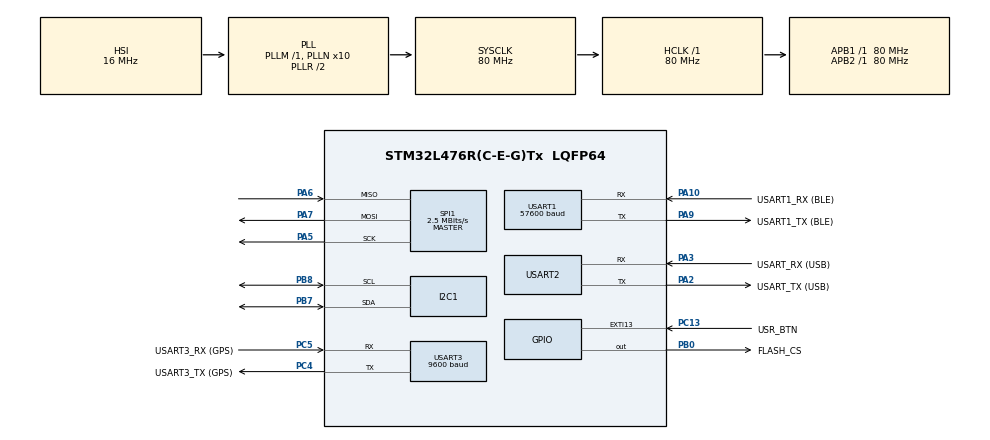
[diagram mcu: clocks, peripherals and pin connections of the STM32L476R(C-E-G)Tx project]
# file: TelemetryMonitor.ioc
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I2C1.Timing=0x10909CEC
Mcu.Family=STM32L4
Mcu.Name=STM32L476R(C-E-G)Tx
Mcu.Package=LQFP64
NVIC.EXTI15_10_IRQn=true\:0\:0\:false\:false\:true\:true\:true\:true
NVIC.I2C1_EV_IRQn=true\:0\:0\:false\:false\:true\:true\:true\:true
NVIC.PriorityGroup=NVIC_PRIORITYGROUP_4
NVIC.USART1_IRQn=true\:0\:0\:false\:false\:true\:true\:true\:true
NVIC.USART2_IRQn=true\:0\:0\:false\:false\:true\:true\:true\:true
NVIC.USART3_IRQn=true\:0\:0\:false\:false\:true\:true\:true\:true
PA10.GPIO_Label=USART1_RX (BLE)
PA10.Mode=Asynchronous
PA10.Signal=USART1_RX
PA13\ (JTMS-SWDIO).GPIO_Label=TMS
PA13\ (JTMS-SWDIO).Mode=Serial_Wire
PA13\ (JTMS-SWDIO).Signal=SYS_JTMS-SWDIO
PA14\ (JTCK-SWCLK).GPIO_Label=TCK
PA14\ (JTCK-SWCLK).Mode=Serial_Wire
PA14\ (JTCK-SWCLK).Signal=SYS_JTCK-SWCLK
PA2.GPIO_Label=USART_TX (USB)
PA2.GPIO_Mode=GPIO_MODE_AF_PP
PA2.GPIO_PuPd=GPIO_NOPULL
PA2.GPIO_Speed=GPIO_SPEED_FREQ_VERY_HIGH
PA2.Mode=Asynchronous
PA2.Signal=USART2_TX
PA3.GPIO_Label=USART_RX (USB)
PA3.GPIO_Mode=GPIO_MODE_AF_PP
PA3.GPIO_PuPd=GPIO_NOPULL
PA3.GPIO_Speed=GPIO_SPEED_FREQ_VERY_HIGH
PA3.Mode=Asynchronous
PA3.Signal=USART2_RX
PA5.Mode=Full_Duplex_Master
PA5.Signal=SPI1_SCK
PA6.Mode=Full_Duplex_Master
PA6.Signal=SPI1_MISO
PA7.Mode=Full_Duplex_Master
PA7.Signal=SPI1_MOSI
PA9.GPIO_Label=USART1_TX (BLE)
PA9.Mode=Asynchronous
PA9.Signal=USART1_TX
PB0.GPIO_Label=FLASH_CS
PB0.GPIO_Speed=GPIO_SPEED_FREQ_LOW
PB0.Signal=GPIO_Output
PB3\ (JTDO-TRACESWO).GPIO_Label=SWO
PB3\ (JTDO-TRACESWO).Signal=SYS_JTDO-SWO
PB7.Mode=I2C
PB7.Signal=I2C1_SDA
PB8.Mode=I2C
PB8.Signal=I2C1_SCL
PC13.GPIO_Label=USR_BTN
PC13.GPIO_ModeDefaultEXTI=GPIO_MODE_IT_FALLING
PC13.GPIO_PuPd=GPIO_PULLUP
PC13.Signal=GPXTI13
PC14-OSC32_IN\ (PC14).Mode=LSE-External-Oscillator
PC14-OSC32_IN\ (PC14).Signal=RCC_OSC32_IN
PC15-OSC32_OUT\ (PC15).Mode=LSE-External-Oscillator
PC15-OSC32_OUT\ (PC15).Signal=RCC_OSC32_OUT
PC4.GPIO_Label=USART3_TX (GPS)
PC4.Mode=Asynchronous
PC4.Signal=USART3_TX
PC5.GPIO_Label=USART3_RX (GPS)
PC5.Mode=Asynchronous
PC5.Signal=USART3_RX
PH0-OSC_IN\ (PH0).Signal=RCC_OSC_IN
PH1-OSC_OUT\ (PH1).Signal=RCC_OSC_OUT
ProjectManager.HeapSize=0x200
ProjectManager.StackSize=0x400
ProjectManager.TargetToolchain=STM32CubeIDE
RCC.ADCFreq_Value=64000000
RCC.AHBFreq_Value=80000000
RCC.APB1Freq_Value=80000000
RCC.APB1TimFreq_Value=80000000
RCC.APB2Freq_Value=80000000
RCC.APB2TimFreq_Value=80000000
RCC.CortexFreq_Value=80000000
RCC.HCLKFreq_Value=80000000
RCC.HSE_VALUE=8000000
RCC.HSI_VALUE=16000000
RCC.MSI_VALUE=4000000
RCC.PLLN=10
RCC.PLLSourceVirtual=RCC_PLLSOURCE_HSI
RCC.PREFETCH_ENABLE=1
RCC.SYSCLKFreq_VALUE=80000000
RCC.SYSCLKSource=RCC_SYSCLKSOURCE_PLLCLK
RCC.USBFreq_Value=64000000
RCC.VCOOutputFreq_Value=160000000
SPI1.BaudRatePrescaler=SPI_BAUDRATEPRESCALER_32
SPI1.CalculateBaudRate=2.5 MBits/s
SPI1.DataSize=SPI_DATASIZE_8BIT
SPI1.Direction=SPI_DIRECTION_2LINES
SPI1.Mode=SPI_MODE_MASTER
SPI1.NSSPMode=SPI_NSS_PULSE_DISABLE
SPI1.VirtualType=VM_MASTER
USART1.BaudRate=57600
USART1.VirtualMode-Asynchronous=VM_ASYNC
USART2.VirtualMode-Asynchronous=VM_ASYNC
USART3.BaudRate=9600
USART3.VirtualMode-Asynchronous=VM_ASYNC
board=NUCLEO-L476RG

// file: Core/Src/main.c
/* USER CODE BEGIN Header */
/**
  ******************************************************************************
  * @file           : main.c
  * @brief          : Main program body
  ******************************************************************************
  * @attention
  *
  * Copyright (c) 2023 STMicroelectronics.
  * All rights reserved.
  *
  * This software is licensed under terms that can be found in the LICENSE file
  * in the root directory of this software component.
  * If no LICENSE file comes with this software, it is provided AS-IS.
  *
  ******************************************************************************
  */
/* USER CODE END Header */
#include "main.h"

/* USER CODE BEGIN Includes */
#include <stdio.h>
#include <stdlib.h>
#include <string.h>
#include "bno055_stm32.h"
/* USER CODE END Includes */

/* USER CODE BEGIN PM */

/************ASCII CHARACTERS**********/
#define DEL				0x08
#define EOT				0x04
#define NL				0x0D
#define CR				0x0A
#define SPACE			0x20

/************FILE MANAGEMENT***********/

//Chip Info
//22:46:51  $GPRMC,224651.00,A,4259.03282,N,08541.36921,W,0.033,,110223,,,A*61
//22:46:51  $GPVTG,,T,,M,0.033,N,0.062,K,A*27
//22:46:51  $GPGGA,224651.00,4259.03282,N,08541.36921,W,1,05,1.84,209.9,M,-34.5,M,,*6B
//22:46:51  $GPGSA,A,3,19,03,06,17,14,,,,,,,,3.65,1.84,3.15*06
//22:46:51  $GPGSV,2,1,08,01,27,045,16,03,26,089,14,06,39,204,20,11,02,212,*78
//22:46:51  $GPGSV,2,2,08,14,59,126,29,17,73,010,16,19,57,281,29,24,21,310,14*7A
//22:46:51  $GPGLL,4259.03282,N,08541.36921,W,224651.00,A,A*7B

//
#define DIR_FIL_ADDR	0x000000	//Initial addr of the Directory File
#define BLOCK_1_ADDR	0x001000	//The address of the first block in memory (excluding The Directory File)
#define	BLOCK_OFFSET	0x001000	//Add this value to the initial 4KB block addr to get the next block's initial address
#define END_ADDR_OFF	0x000FFF	//Add this value to the initial 4KB block addr value to get the end address
#define PAGE_END_OFF	0x0000FF
#define PAGE_OFFSET		0x000100
#define LAST_PAGE_OFF	0x000F00
#define TOC_ADDR		0x000000
#define TOC_OFFSET		0x000020

//Directory File Macros
#define BLOCKS_4KB		127
#define BLOCKS_32KB		16
#define BLOCKS_64KB		8
#define PAGE_COUNT		16

/**********SPI FLASH COMMANDS**********/
const uint8_t WR_EN = 0x06;			//Write Enable
const uint8_t WR_EN_VSR = 0x50;		//Write Enable for Volatile Status Register
const uint8_t WR_DIS = 0x04;		//Write Disable
const uint8_t RD_SR = 0x05;			//Read Status Register
const uint8_t WR_SR = 0x01;			//Write Status Register
const uint8_t RD_DATA = 0x03;		//Read Data
const uint8_t RD_FAST = 0x0B;		//Read Fast
const uint8_t RD_FAST_DO = 0x3B;	//Read Fast Dual Output
const uint8_t RD_FAST_DIO = 0xBB;	//Read Fast Dual Input/Output
const uint8_t PG_PROG = 0x02;		//Page Program
const uint8_t ERASE_4KB = 0x20;		//Sector Erase 4KB
const uint8_t ERASE_32KB = 0x52;	//Sector Erase 32KB
const uint8_t ERASE_64KB = 0xD8;	//Sector Erase 64KB
const uint8_t ERASE_CHIP = 0x60;	//Erase Chip Memory
const uint8_t PWR_DWN = 0xB9;		//Power Down
const uint8_t REL_PWR_DWN = 0xAB;	//Release Power Down

/* USER CODE END PM */

I2C_HandleTypeDef hi2c1;

SPI_HandleTypeDef hspi1;

UART_HandleTypeDef huart1;
UART_HandleTypeDef huart2;
UART_HandleTypeDef huart3;

/* USER CODE BEGIN PV */

uint8_t* statReg;
uint8_t SRP, TB, BP2, BP1, BP0, WEL, BUSY;

//BNO055 I2C Address
//#define BNO055_ADDR_LO	0x28
//#define BNO055_ADDR		BNO055_ADDR_LO<<1

///**************PAGE 0*********************/
//#define BNO_CHIP_ID				0x00
//#define BNO_ACC_ID				0x01
//#define BNO_MAG_ID				0x02
//#define BNO_GYR_ID				0x03
//#define BNO_SW_REV_ID_LSB		0x04
//#define BNO_SW_REV_ID_MSB		0x05
//#define BNO_BL_REV_ID			0x06
//#define BNO_PAGE_ID				0x07
//#define BNO_ACC_DATA_X_LSB		0x08
//#define BNO_ACC_DATA_X_MSB		0x09
//#define BNO_ACC_DATA_Y_LSB		0x0A
//#define BNO_ACC_DATA_Y_MSB		0x0B
//#define BNO_ACC_DATA_Z_LSB		0x0C
//#define BNO_ACC_DATA_Z_MSB		0x0D
//#define BNO_MAG_DATA_X_LSB		0x0E
//#define BNO_MAG_DATA_X_MSB		0x0F
//#define BNO_MAG_DATA_Y_LSB		0x10
//#define BNO_MAG_DATA_Y_MSB		0x11
//#define BNO_MAG_DATA_Z_LSB		0x12
//#define BNO_MAG_DATA_Z_MSB		0x13
//#define BNO_GYR_DATA_X_LSB		0x14
//#define BNO_GYR_DATA_X_MSB		0x15
//#define BNO_GYR_DATA_Y_LSB		0x16
//#define BNO_GYR_DATA_Y_MSB		0x17
//#define BNO_GYR_DATA_Z_LSB		0x18
//#define BNO_GYR_DATA_Z_MSB		0x19
//#define BNO_EUL_HEADING_LSB		0x1A
//#define BNO_EUL_HEADING_MSB		0x1B
//#define BNO_EUL_ROLL_LSB			0x1C
//#define BNO_EUL_ROLL_MSB			0x1D
//#define BNO_EUL_PITCH_LSB		0x1E
//#define BNO_EUL_PITCH_MSB		0x1F
//#define BNO_QUA_DATA_W_LSB		0x20
//#define BNO_QUA_DATA_W_MSB		0x21
//#define BNO_QUA_DATA_X_LSB		0x22
//#define BNO_QUA_DATA_X_MSB		0x23
//#define BNO_QUA_DATA_Y_LSB		0x24
//#define BNO_QUA_DATA_Y_MSB		0x25
//#define BNO_QUA_DATA_Z_LSB		0x26
//#define BNO_QUA_DATA_Z_MSB		0x27
//#define BNO_LIA_DATA_X_LSB		0x28
//#define BNO_LIA_DATA_X_MSB		0x29
//#define BNO_LIA_DATA_Y_LSB		0x2A
//#define BNO_LIA_DATA_Y_MSB		0x2B
//#define BNO_LIA_DATA_Z_LSB		0x2C
//#define BNO_LIA_DATA_Z_MSB		0x2D
//#define BNO_GRV_DATA_X_LSB		0x2E
//#define BNO_GRV_DATA_X_MSB		0x2F
//#define BNO_GRV_DATA_Y_LSB		0x30
//#define BNO_GRV_DATA_Y_MSB		0x31
//#define BNO_GRV_DATA_Z_LSB		0x32
//#define BNO_GRV_DATA_Z_MSB		0x33
//#define BNO_TEMP					0x34
//#define BNO_CALIB_STAT			0x35
//#define BNO_ST_RESULT			0x36
//#define BNO_INT_STA				0x37
//#define BNO_SYS_CLK_STATUS		0x38
//#define BNO_SYS_STATUS          0x39
//#define BNO_SYS_ERR             0x3A
//#define BNO_UNIT_SEL            0x3B
//
//#define BNO_OPR_MODE            0x3D
//#define BNO_PWR_MODE            0x3E
//#define BNO_SYS_TRIGGER         0x3F
//#define BNO_TEMP_SOURCE         0x40
//#define BNO_AXIS_MAP_CONFIG     0x41
//#define BNO_AXIS_MAP_SIGN       0x42
//#define BNO_SIC_MATRIX_LSB0     0x43
//#define BNO_SIC_MATRIX_MSB0     0x44
//#define BNO_SIC_MATRIX_LSB1     0x45
//#define BNO_SIC_MATRIX_MSB1     0x46
//#define BNO_SIC_MATRIX_LSB2     0x47
//#define BNO_SIC_MATRIX_MSB2     0x48
//#define BNO_SIC_MATRIX_LSB3     0x49
//#define BNO_SIC_MATRIX_MSB3     0x4A
//#define BNO_SIC_MATRIX_LSB4     0x4B
//#define BNO_SIC_MATRIX_MSB4     0x4C
//#define BNO_SIC_MATRIX_LSB5     0x4D
//#define BNO_SIC_MATRIX_MSB5     0x4E
//#define BNO_SIC_MATRIX_LSB6     0X4F
//#define BNO_SIC_MATRIX_MSB6     0x50
//#define BNO_SIC_MATRIX_LSB7     0x51
//#define BNO_SIC_MATRIX_MSB7     0x52
//#define BNO_SIC_MATRIX_LSB8     0x53
//#define BNO_SIC_MATRIX_MSB8     	0x54
//#define BNO_ACC_OFFSET_X_LSB		0x55
//#define BNO_ACC_OFFSET_X_MSB		0x56
//#define BNO_ACC_OFFSET_Y_LSB		0x57
//#define BNO_ACC_OFFSET_Y_MSB		0x58
//#define BNO_ACC_OFFSET_Z_LSB		0x59
//#define BNO_ACC_OFFSET_Z_MSB		0x5A
//#define BNO_MAG_OFFSET_X_LSB		0x5B
//#define BNO_MAG_OFFSET_X_MSB		0x5C
//#define BNO_MAG_OFFSET_Y_LSB		0x5D
//#define BNO_MAG_OFFSET_Y_MSB		0x5E
//#define BNO_MAG_OFFSET_Z_LSB		0X5F
//#define BNO_MAG_OFFSET_Z_MSB    	0x60
//#define BNO_GYR_OFFSET_X_LSB		0x61
//#define BNO_GYR_OFFSET_X_MSB		0x62
//#define BNO_GYR_OFFSET_Y_LSB		0x63
//#define BNO_GYR_OFFSET_Y_MSB		0x64
//#define BNO_GYR_OFFSET_Z_LSB		0x65
//#define BNO_GYR_OFFSET_Z_MSB    0x66
//#define BNO_ACC_RADIUS_LSB		0x67
//#define BNO_ACC_RADIUS_MSB		0x68
//#define BNO_MAG_RADIUS_LSB		0x69
//#define BNO_MAG_RADIUS_MSB		0x6A
//
///******************PAGE 1*********************/
//#define BNO_PAGE_ID				0x07
//#define BNO_ACC_CONFIG			0x08
//#define BNO_MAG_CONFIG			0x09
//#define BNO_GYR_CONFIG_0			0x0A
//#define BNO_GYR_CONFIG_1			0x0B
//#define BNO_ACC_SLEEP_CONFIG		0x0C
//#define BNO_GYR_SLEEP_CONFIG		0x0D
//
//#define BNO_INT_MSK				0x0F
//#define BNO_INT_EN				0x10
//#define BNO_ACC_AM_THRES			0x11
//#define BNO_ACC_INT_SETTINGS		0x12
//#define BNO_ACC_HG_DURATION		0x13
//#define BNO_ACC_HG_THRES			0x14
//#define BNO_ACC_NM_THRES			0x15
//#define BNO_ACC_NM_SET			0x16
//#define BNO_GYR_INT_SETTING		0x17
//#define BNO_GYR_HR_X_SET			0x18
//#define BNO_GYR_DUR_X			0x19
//#define BNO_GYR_HR_Y_SET			0x1A
//#define BNO_GYR_GYR_DUR_Y		0x1B
//#define BNO_GYR_HR_Z_SET			0x1C
//#define BNO_GYR_DUR_Z			0x1D
//#define BNO_GYR_AM_THRES			0x1E
//#define BNO_GR_AM_SET			0x1F

uint8_t I2C_Data[200];
uint8_t i;

uint8_t *w_MSB, *w_LSB;
uint8_t *x_MSB, *x_LSB;
uint8_t *y_MSB, *y_LSB;
uint8_t *z_MSB, *z_LSB;
uint16_t wQuat, xQuat, yQuat, zQuat;
char quatStr[50];

//BLE Module
uint8_t rxData1[20];
uint8_t txData1[20] = "B";

//USB_Serial
uint8_t rxData2[20];
uint8_t txData2[20] = "U";

//GPS Module
uint8_t rxData3[20];
uint8_t txData3[20] = "G";

uint8_t btnPress, serialOutput, dataOut;

char QuatW[20], QuatX[20], QuatY[20], QuatZ[20];
bno055_vector_t v;

/* USER CODE END PV */

void SystemClock_Config(void);
static void MX_GPIO_Init(void);
static void MX_USART2_UART_Init(void);
static void MX_USART1_UART_Init(void);
static void MX_USART3_UART_Init(void);
static void MX_I2C1_Init(void);
static void MX_SPI1_Init(void);
/* USER CODE BEGIN PFP */

void writeEnable(void);
void writeDisable(void);
void readStatusRegister(void);
void pageProgram(uint32_t address, uint8_t *data, uint32_t size);
void readData(uint32_t address, uint8_t *data, uint32_t size);
void erase4KB(uint32_t address);
void erase32KB(uint32_t address);
void erase64KB(uint32_t address);
void eraseChip(void);

void storeFile(void);
void readFile(uint8_t fileNum);
/* USER CODE END PFP */

int main(void){

  /* MCU Configuration--------------------------------------------------------*/

  /* Reset of all peripherals, Initializes the Flash interface and the Systick. */
  HAL_Init();

  /* Configure the system clock */
  SystemClock_Config();

  /* Initialize all configured peripherals */
  MX_GPIO_Init();
  MX_USART2_UART_Init();
  MX_USART1_UART_Init();
  MX_USART3_UART_Init();
  MX_I2C1_Init();
  MX_SPI1_Init();
  /* USER CODE BEGIN 2 */

//	//HAL_StatusTypeDef HAL_UART_Receive_IT(UART_HandleTypeDef *huart, uint8_t *pData, uint16_t Size)
//	HAL_UART_Receive_IT(&huart1, rxData1, 1);
	HAL_UART_Receive_IT(&huart2, rxData2, 1);
	HAL_UART_Receive_IT(&huart3, rxData3, 1);

//	//HAL_StatusTypeDef HAL_UART_Transmit_IT(UART_HandleTypeDef *huart, const uint8_t *pData, uint16_t Size)
//	HAL_UART_Transmit_IT(&huart1, txData1, 1);
	HAL_UART_Transmit_IT(&huart2, txData2, 1);
	HAL_UART_Transmit_IT(&huart3, txData3, 1);

//	HAL_StatusTypeDef HAL_I2C_Mem_Write(I2C_HandleTypeDef *hi2c, uint16_t DevAddress, uint16_t MemAddress,
//	                                    uint16_t MemAddSize, uint8_t *pData, uint16_t Size, uint32_t Timeout)
//
//
//	HAL_StatusTypeDef HAL_I2C_Mem_Read(I2C_HandleTypeDef *hi2c, uint16_t DevAddress, uint16_t MemAddress,
//	                                   uint16_t MemAddSize, uint8_t *pData, uint16_t Size, uint32_t Timeout)

//	HAL_StatusTypeDef HAL_I2C_Mem_Write_IT(I2C_HandleTypeDef *hi2c, uint16_t DevAddress, uint16_t MemAddress,
//	                                       uint16_t MemAddSize, uint8_t *pData, uint16_t Size)
//
//
//	HAL_StatusTypeDef HAL_I2C_Mem_Read_IT(I2C_HandleTypeDef *hi2c, uint16_t DevAddress, uint16_t MemAddress,
//	                                      uint16_t MemAddSize, uint8_t *pData, uint16_t Size)

	//Read Operation Mode
//	HAL_I2C_Mem_Read(&hi2c1, BNO055_ADDR, 0x00, I2C_MEMADD_SIZE_8BIT, I2C_Data, 1, 100);
//	HAL_I2C_Mem_Read(&hi2c1, BNO055_ADDR, 0x01, I2C_MEMADD_SIZE_8BIT, I2C_Data, 1, 100);
//	HAL_I2C_Mem_Read(&hi2c1, BNO055_ADDR, 0x02, I2C_MEMADD_SIZE_8BIT, I2C_Data, 1, 100);
//	HAL_I2C_Mem_Read(&hi2c1, BNO055_ADDR, 0x03, I2C_MEMADD_SIZE_8BIT, I2C_Data, 1, 100);
//	HAL_I2C_Mem_Read(&hi2c1, BNO055_ADDR, 0x04, I2C_MEMADD_SIZE_8BIT, I2C_Data, 1, 100);
//	HAL_I2C_Mem_Read(&hi2c1, BNO055_ADDR, 0x05, I2C_MEMADD_SIZE_8BIT, I2C_Data, 1, 100);
//	HAL_I2C_Mem_Read(&hi2c1, BNO055_ADDR, 0x06, I2C_MEMADD_SIZE_8BIT, I2C_Data, 1, 100);
//	HAL_I2C_Mem_Read(&hi2c1, BNO055_ADDR, 0x07, I2C_MEMADD_SIZE_8BIT, I2C_Data, 1, 100);

//	for(i = 0; i < 200; i++){
//		HAL_I2C_Mem_Read(&hi2c1, BNO055_ADDR, i, I2C_MEMADD_SIZE_8BIT, &I2C_Data[i], 1, 100);
//	}

//	HAL_I2C_Mem_Read(&hi2c1, BNO055_ADDR, 0x20, I2C_MEMADD_SIZE_8BIT, w_LSB, 1, 100);
//	HAL_I2C_Mem_Read(&hi2c1, BNO055_ADDR, 0x21, I2C_MEMADD_SIZE_8BIT, w_MSB, 1, 100);
//	wQuat = (*w_MSB << 8) & (*w_LSB);
//
//	HAL_I2C_Mem_Read(&hi2c1, BNO055_ADDR, 0x22, I2C_MEMADD_SIZE_8BIT, x_LSB, 1, 100);
//	HAL_I2C_Mem_Read(&hi2c1, BNO055_ADDR, 0x23, I2C_MEMADD_SIZE_8BIT, x_MSB, 1, 100);
//	xQuat = (*x_MSB << 8) & (*x_LSB);
//
//	HAL_I2C_Mem_Read(&hi2c1, BNO055_ADDR, 0x24, I2C_MEMADD_SIZE_8BIT, y_LSB, 1, 100);
//	HAL_I2C_Mem_Read(&hi2c1, BNO055_ADDR, 0x25, I2C_MEMADD_SIZE_8BIT, y_MSB, 1, 100);
//	yQuat = (*y_MSB << 8) & (*y_LSB);
//
//	HAL_I2C_Mem_Read(&hi2c1, BNO055_ADDR, 0x26, I2C_MEMADD_SIZE_8BIT, z_LSB, 1, 100);
//	HAL_I2C_Mem_Read(&hi2c1, BNO055_ADDR, 0x27, I2C_MEMADD_SIZE_8BIT, z_MSB, 1, 100);
//	zQuat = (*z_MSB << 8) & (*z_LSB);
//
//	sprintf(quatStr, "w:%u, x:%u, y:%u, z:%u", wQuat, xQuat, yQuat, zQuat);

//	HAL_I2C_Mem_Read_IT(&hi2c1, BNO055_ADDR, 0x04, I2C_MEMADD_SIZE_8BIT, I2C_Data, 1);
//	HAL_I2C_Mem_Read_IT(&hi2c1, BNO055_ADDR, 0x05, I2C_MEMADD_SIZE_8BIT, I2C_Data, 1);
//	HAL_I2C_Mem_Read_IT(&hi2c1, BNO055_ADDR, 0x06, I2C_MEMADD_SIZE_8BIT, I2C_Data, 1);
/**************************SPI_FLASH_TEST******************************/
//char uart_buf[50];
//int uart_buf_len;
//uint8_t spi_buf[256];
//uint32_t addr;
//
//	// Say something
//	uart_buf_len = sprintf(uart_buf, "SPI Test\r\n");
//	HAL_UART_Transmit(&huart2, (uint8_t *)uart_buf, uart_buf_len, 100);
//
//	addr = BLOCK_1_ADDR;
//	//	erase4KB(addr);
//
//	spi_buf[0] = 0xFF;
//	spi_buf[1] = 0xFF;
//	spi_buf[2] = 0xFF;
//
//	addr = BLOCK_1_ADDR;
//	readData(addr, spi_buf, 200);
//
//	readStatusRegister();
//	writeEnable();
//	readStatusRegister();
//
//	// Test bytes to write to EEPROM
//	spi_buf[0] = 0x12;
//	spi_buf[1] = 0x34;
//	spi_buf[2] = 0x56;
//
//	// Set starting address
//	addr = BLOCK_1_ADDR;
//
//	pageProgram(addr, spi_buf, 3);
//
//	spi_buf[0] = 0xFF;
//	spi_buf[1] = 0xFF;
//	spi_buf[2] = 0xFF;
//
//	addr = BLOCK_1_ADDR;
//	readData(addr, spi_buf, 3);
//	//buffer should read 12, 34, 56

	bno055_assignI2C(&hi2c1);
	bno055_setup();
	bno055_setOperationModeNDOF();

	v = bno055_getVectorQuaternion();

  /* USER CODE END 2 */

  /* Infinite loop */
  /* USER CODE BEGIN WHILE */
  while (1){

	if(dataOut == 0){//SERIAL IMU DATA
		v = bno055_getVectorQuaternion();
		sprintf(QuatW, "%.2lf,", v.w); // format the double with two decimal places
		HAL_UART_Transmit_IT(&huart2, (uint8_t*)QuatW, strlen(QuatW));
		HAL_Delay(10);
		sprintf(QuatX, "%.2lf,", v.x); // format the double with two decimal places
		HAL_UART_Transmit_IT(&huart2, (uint8_t*)QuatX, strlen(QuatX));
		HAL_Delay(10);
		sprintf(QuatY, "%.2lf,", v.y); // format the double with two decimal places
		HAL_UART_Transmit_IT(&huart2, (uint8_t*)QuatY, strlen(QuatY));
		HAL_Delay(10);
		sprintf(QuatZ, "%.2lf\n", v.z); // format the double with two decimal places
		HAL_UART_Transmit_IT(&huart2, (uint8_t*)QuatZ, strlen(QuatZ));
		HAL_Delay(10);
	}else if(dataOut == 1){//SERIAL GPS DATA
		serialOutput = 1;
	}else if(dataOut == 2){//BLUETOOTH IMU DATA
		v = bno055_getVectorQuaternion();
		sprintf(QuatW, "%.2lf,", v.w); // format the double with two decimal places
		HAL_UART_Transmit_IT(&huart1, (uint8_t*)QuatW, strlen(QuatW));
		HAL_Delay(10);
		sprintf(QuatX, "%.2lf,", v.x); // format the double with two decimal places
		HAL_UART_Transmit_IT(&huart1, (uint8_t*)QuatX, strlen(QuatX));
		HAL_Delay(10);
		sprintf(QuatY, "%.2lf,", v.y); // format the double with two decimal places
		HAL_UART_Transmit_IT(&huart1, (uint8_t*)QuatY, strlen(QuatY));
		HAL_Delay(10);
		sprintf(QuatZ, "%.2lf\n", v.z); // format the double with two decimal places
		HAL_UART_Transmit_IT(&huart1, (uint8_t*)QuatZ, strlen(QuatZ));
		HAL_Delay(10);
	}else if(dataOut == 3){//BLUETOOTH GPS DATA
		serialOutput = 0;
	}

    /* USER CODE END WHILE */

  }
}

void SystemClock_Config(void)
{
  RCC_OscInitTypeDef RCC_OscInitStruct = {0};
  RCC_ClkInitTypeDef RCC_ClkInitStruct = {0};

  /** Configure the main internal regulator output voltage
  */
  if (HAL_PWREx_ControlVoltageScaling(PWR_REGULATOR_VOLTAGE_SCALE1) != HAL_OK)
  {
    Error_Handler();
  }

  /** Initializes the RCC Oscillators according to the specified parameters
  * in the RCC_OscInitTypeDef structure.
  */
  RCC_OscInitStruct.OscillatorType = RCC_OSCILLATORTYPE_HSI;
  RCC_OscInitStruct.HSIState = RCC_HSI_ON;
  RCC_OscInitStruct.HSICalibrationValue = RCC_HSICALIBRATION_DEFAULT;
  RCC_OscInitStruct.PLL.PLLState = RCC_PLL_ON;
  RCC_OscInitStruct.PLL.PLLSource = RCC_PLLSOURCE_HSI;
  RCC_OscInitStruct.PLL.PLLM = 1;
  RCC_OscInitStruct.PLL.PLLN = 10;
  RCC_OscInitStruct.PLL.PLLP = RCC_PLLP_DIV7;
  RCC_OscInitStruct.PLL.PLLQ = RCC_PLLQ_DIV2;
  RCC_OscInitStruct.PLL.PLLR = RCC_PLLR_DIV2;
  if (HAL_RCC_OscConfig(&RCC_OscInitStruct) != HAL_OK)
  {
    Error_Handler();
  }

  /** Initializes the CPU, AHB and APB buses clocks
  */
  RCC_ClkInitStruct.ClockType = RCC_CLOCKTYPE_HCLK|RCC_CLOCKTYPE_SYSCLK
                              |RCC_CLOCKTYPE_PCLK1|RCC_CLOCKTYPE_PCLK2;
  RCC_ClkInitStruct.SYSCLKSource = RCC_SYSCLKSOURCE_PLLCLK;
  RCC_ClkInitStruct.AHBCLKDivider = RCC_SYSCLK_DIV1;
  RCC_ClkInitStruct.APB1CLKDivider = RCC_HCLK_DIV1;
  RCC_ClkInitStruct.APB2CLKDivider = RCC_HCLK_DIV1;

  if (HAL_RCC_ClockConfig(&RCC_ClkInitStruct, FLASH_LATENCY_4) != HAL_OK)
  {
    Error_Handler();
  }
}

static void MX_I2C1_Init(void)
{

  hi2c1.Instance = I2C1;
  hi2c1.Init.Timing = 0x10909CEC;
  hi2c1.Init.OwnAddress1 = 0;
  hi2c1.Init.AddressingMode = I2C_ADDRESSINGMODE_7BIT;
  hi2c1.Init.DualAddressMode = I2C_DUALADDRESS_DISABLE;
  hi2c1.Init.OwnAddress2 = 0;
  hi2c1.Init.OwnAddress2Masks = I2C_OA2_NOMASK;
  hi2c1.Init.GeneralCallMode = I2C_GENERALCALL_DISABLE;
  hi2c1.Init.NoStretchMode = I2C_NOSTRETCH_DISABLE;
  if (HAL_I2C_Init(&hi2c1) != HAL_OK)
  {
    Error_Handler();
  }

  /** Configure Analogue filter
  */
  if (HAL_I2CEx_ConfigAnalogFilter(&hi2c1, I2C_ANALOGFILTER_ENABLE) != HAL_OK)
  {
    Error_Handler();
  }

  /** Configure Digital filter
  */
  if (HAL_I2CEx_ConfigDigitalFilter(&hi2c1, 0) != HAL_OK)
  {
    Error_Handler();
  }

}

static void MX_SPI1_Init(void)
{

  /* SPI1 parameter configuration*/
  hspi1.Instance = SPI1;
  hspi1.Init.Mode = SPI_MODE_MASTER;
  hspi1.Init.Direction = SPI_DIRECTION_2LINES;
  hspi1.Init.DataSize = SPI_DATASIZE_8BIT;
  hspi1.Init.CLKPolarity = SPI_POLARITY_LOW;
  hspi1.Init.CLKPhase = SPI_PHASE_1EDGE;
  hspi1.Init.NSS = SPI_NSS_SOFT;
  hspi1.Init.BaudRatePrescaler = SPI_BAUDRATEPRESCALER_32;
  hspi1.Init.FirstBit = SPI_FIRSTBIT_MSB;
  hspi1.Init.TIMode = SPI_TIMODE_DISABLE;
  hspi1.Init.CRCCalculation = SPI_CRCCALCULATION_DISABLE;
  hspi1.Init.CRCPolynomial = 7;
  hspi1.Init.CRCLength = SPI_CRC_LENGTH_DATASIZE;
  hspi1.Init.NSSPMode = SPI_NSS_PULSE_DISABLE;
  if (HAL_SPI_Init(&hspi1) != HAL_OK)
  {
    Error_Handler();
  }

}

static void MX_USART1_UART_Init(void)
{

  huart1.Instance = USART1;
  huart1.Init.BaudRate = 57600;
  huart1.Init.WordLength = UART_WORDLENGTH_8B;
  huart1.Init.StopBits = UART_STOPBITS_1;
  huart1.Init.Parity = UART_PARITY_NONE;
  huart1.Init.Mode = UART_MODE_TX_RX;
  huart1.Init.HwFlowCtl = UART_HWCONTROL_NONE;
  huart1.Init.OverSampling = UART_OVERSAMPLING_16;
  huart1.Init.OneBitSampling = UART_ONE_BIT_SAMPLE_DISABLE;
  huart1.AdvancedInit.AdvFeatureInit = UART_ADVFEATURE_NO_INIT;
  if (HAL_UART_Init(&huart1) != HAL_OK)
  {
    Error_Handler();
  }

}

static void MX_USART2_UART_Init(void)
{

  huart2.Instance = USART2;
  huart2.Init.BaudRate = 115200;
  huart2.Init.WordLength = UART_WORDLENGTH_8B;
  huart2.Init.StopBits = UART_STOPBITS_1;
  huart2.Init.Parity = UART_PARITY_NONE;
  huart2.Init.Mode = UART_MODE_TX_RX;
  huart2.Init.HwFlowCtl = UART_HWCONTROL_NONE;
  huart2.Init.OverSampling = UART_OVERSAMPLING_16;
  huart2.Init.OneBitSampling = UART_ONE_BIT_SAMPLE_DISABLE;
  huart2.AdvancedInit.AdvFeatureInit = UART_ADVFEATURE_NO_INIT;
  if (HAL_UART_Init(&huart2) != HAL_OK)
  {
    Error_Handler();
  }

}

static void MX_USART3_UART_Init(void)
{

  huart3.Instance = USART3;
  huart3.Init.BaudRate = 9600;
  huart3.Init.WordLength = UART_WORDLENGTH_8B;
  huart3.Init.StopBits = UART_STOPBITS_1;
  huart3.Init.Parity = UART_PARITY_NONE;
  huart3.Init.Mode = UART_MODE_TX_RX;
  huart3.Init.HwFlowCtl = UART_HWCONTROL_NONE;
  huart3.Init.OverSampling = UART_OVERSAMPLING_16;
  huart3.Init.OneBitSampling = UART_ONE_BIT_SAMPLE_DISABLE;
  huart3.AdvancedInit.AdvFeatureInit = UART_ADVFEATURE_NO_INIT;
  if (HAL_UART_Init(&huart3) != HAL_OK)
  {
    Error_Handler();
  }

}

static void MX_GPIO_Init(void)
{
  GPIO_InitTypeDef GPIO_InitStruct = {0};

  /* GPIO Ports Clock Enable */
  __HAL_RCC_GPIOC_CLK_ENABLE();
  __HAL_RCC_GPIOH_CLK_ENABLE();
  __HAL_RCC_GPIOA_CLK_ENABLE();
  __HAL_RCC_GPIOB_CLK_ENABLE();

  /*Configure GPIO pin Output Level */
  HAL_GPIO_WritePin(FLASH_CS_GPIO_Port, FLASH_CS_Pin, GPIO_PIN_RESET);

  /*Configure GPIO pin : USR_BTN_Pin */
  GPIO_InitStruct.Pin = USR_BTN_Pin;
  GPIO_InitStruct.Mode = GPIO_MODE_IT_FALLING;
  GPIO_InitStruct.Pull = GPIO_PULLUP;
  HAL_GPIO_Init(USR_BTN_GPIO_Port, &GPIO_InitStruct);

  /*Configure GPIO pin : FLASH_CS_Pin */
  GPIO_InitStruct.Pin = FLASH_CS_Pin;
  GPIO_InitStruct.Mode = GPIO_MODE_OUTPUT_PP;
  GPIO_InitStruct.Pull = GPIO_NOPULL;
  GPIO_InitStruct.Speed = GPIO_SPEED_FREQ_LOW;
  HAL_GPIO_Init(FLASH_CS_GPIO_Port, &GPIO_InitStruct);

  /* EXTI interrupt init*/
  HAL_NVIC_SetPriority(EXTI15_10_IRQn, 0, 0);
  HAL_NVIC_EnableIRQ(EXTI15_10_IRQn);

}

/* USER CODE BEGIN 4 */

void HAL_GPIO_EXTI_Callback(uint16_t GPIO_Pin){
	btnPress = 0;
	dataOut++;
	if(dataOut > 3){
		dataOut = 0;
	}
}

void HAL_UART_RxCpltCallback(UART_HandleTypeDef *huart){

	//Re-enable UART RX interrupt
	//HAL_StatusTypeDef HAL_UART_Receive_IT(UART_HandleTypeDef *huart, uint8_t *pData, uint16_t Size)
//	HAL_UART_Receive_IT(&huart1, rxData1, 1);	//Bluetooth Receiver
//	HAL_UART_Receive_IT(&huart2, rxData2, 1);	//Serial Receiver
	HAL_UART_Receive_IT(&huart3, rxData3, 1);	//GPS Receiver

	//ECHO TEST
//	HAL_StatusTypeDef HAL_UART_Transmit_IT(UART_HandleTypeDef *huart, const uint8_t *pData, uint16_t Size)

	if(serialOutput == 0){
		HAL_UART_Transmit_IT(&huart1, rxData3, 1);	//Bluetooth Transmission
	}else{
		HAL_UART_Transmit_IT(&huart2, rxData3, 1);	//Serial Transmission
	}
	btnPress = 1;
//	HAL_UART_Transmit_IT(&huart1, rxData3, 1);	//Bluetooth Transmission
//	HAL_UART_Transmit_IT(&huart2, rxData3, 1);	//Serial Transmission
}

void HAL_UART_TxCpltCallback(UART_HandleTypeDef *huart){
	//Do nothing
}

//uint8_t BNO_StatusCheck(void){
//	uint8_t *BNOStatus;
//	HAL_I2C_Mem_Read(&hi2c1, BNO055_ADDR, BNO_SYS_STATUS, I2C_MEMADD_SIZE_8BIT, &BNOStatus, 1, 100);
//	return *BNOStatus;
//}
//
//void BNO_ErrorCheck(void){
//	uint8_t *BNOError;
//	HAL_I2C_Mem_Read(&hi2c1, BNO055_ADDR, BNO_SYS_ERR, I2C_MEMADD_SIZE_8BIT, &BNOError, 1, 100);
//	return *BNOError;
//}

//uint8_t BNO_GetIDs(void){
//	BNO_GetChipID();
//	BNO_GetAccID();
//	BNO_GetMagID();
//	BNO_GetGyroID();
//}
//
//uint8_t BNO_GetChipID(void){
//	uint8_t Output;
//	HAL_I2C_Mem_Read(&hi2c1, BNO055_ADDR, BNO_CHIP_ID, I2C_MEMADD_SIZE_8BIT, Output, 1, 100);
//	return Output;
//}
//
//uint8_t BNO_GetAccID(void){
//	uint8_t Output;
//	HAL_I2C_Mem_Read(&hi2c1, BNO055_ADDR, BNO_ACC_ID, I2C_MEMADD_SIZE_8BIT, Output, 1, 100);
//	return Output;
//}
//
//uint8_t BNO_GetMagID(void){
//	uint8_t Output;
//	HAL_I2C_Mem_Read(&hi2c1, BNO055_ADDR, BNO_MAG_ID, I2C_MEMADD_SIZE_8BIT, Output, 1, 100);
//	return Output;
//}
//
//uint8_t BNO_GetGyroID(void){
//	uint8_t Output;
//	HAL_I2C_Mem_Read(&hi2c1, BNO055_ADDR, BNO_GYR_ID, I2C_MEMADD_SIZE_8BIT, Output, 1, 100);
//	return Output;
//}
//
//uint8_t BNO_GetData(void){
//	BNO_GetAccData();
//	BNO_GetMagData();
//	BNO_GetGyroData();
//}

//void BNO_GetAccData(uint16_t *accX, uint16_t *accY, uint16_t *accZ){
//	uint8_t accX_LSB, accX_MSB, accY_LSB, accY_MSB, accZ_LSB, accZ_MSB;
//	HAL_I2C_Mem_Read(&hi2c1, BNO055_ADDR, BNO_ACC_DATA_X_LSB, I2C_MEMADD_SIZE_8BIT, &accX_LSB, 1, 100);
//	HAL_I2C_Mem_Read(&hi2c1, BNO055_ADDR, BNO_ACC_DATA_X_MSB, I2C_MEMADD_SIZE_8BIT, &accX_MSB, 1, 100);
//	HAL_I2C_Mem_Read(&hi2c1, BNO055_ADDR, BNO_ACC_DATA_Y_LSB, I2C_MEMADD_SIZE_8BIT, &accY_LSB, 1, 100);
//	HAL_I2C_Mem_Read(&hi2c1, BNO055_ADDR, BNO_ACC_DATA_Y_MSB, I2C_MEMADD_SIZE_8BIT, &accY_MSB, 1, 100);
//	HAL_I2C_Mem_Read(&hi2c1, BNO055_ADDR, BNO_ACC_DATA_Z_LSB, I2C_MEMADD_SIZE_8BIT, &accZ_LSB, 1, 100);
//	HAL_I2C_Mem_Read(&hi2c1, BNO055_ADDR, BNO_ACC_DATA_Z_MSB, I2C_MEMADD_SIZE_8BIT, &accZ_MSB, 1, 100);
//	*accX = (accX_MSB << 8) | accX_LSB;
//	*accY = (accY_MSB << 8) | accY_LSB;
//	*accZ = (accZ_MSB << 8) | accZ_LSB;
//}
//
//void BNO_GetMagData(uint16_t *magX, uint16_t *magY, uint16_t *magZ){
//	uint8_t magX_LSB, magX_MSB, magY_LSB, magY_MSB, magZ_LSB, magZ_MSB;
//	HAL_I2C_Mem_Read(&hi2c1, BNO055_ADDR, BNO_MAG_DATA_X_LSB, I2C_MEMADD_SIZE_8BIT, &magX_LSB, 1, 100);
//	HAL_I2C_Mem_Read(&hi2c1, BNO055_ADDR, BNO_MAG_DATA_X_MSB, I2C_MEMADD_SIZE_8BIT, &magX_MSB, 1, 100);
//	HAL_I2C_Mem_Read(&hi2c1, BNO055_ADDR, BNO_MAG_DATA_Y_LSB, I2C_MEMADD_SIZE_8BIT, &magY_LSB, 1, 100);
//	HAL_I2C_Mem_Read(&hi2c1, BNO055_ADDR, BNO_MAG_DATA_Y_MSB, I2C_MEMADD_SIZE_8BIT, &magY_MSB, 1, 100);
//	HAL_I2C_Mem_Read(&hi2c1, BNO055_ADDR, BNO_MAG_DATA_Z_LSB, I2C_MEMADD_SIZE_8BIT, &magZ_LSB, 1, 100);
//	HAL_I2C_Mem_Read(&hi2c1, BNO055_ADDR, BNO_MAG_DATA_Z_MSB, I2C_MEMADD_SIZE_8BIT, &magZ_MSB, 1, 100);
//	*magX = (magX_MSB << 8) | magX_LSB;
//	*magY = (magY_MSB << 8) | magY_LSB;
//	*magZ = (magZ_MSB << 8) | magZ_LSB;
//}
//
//void BNO_GetGyroData(uint16_t *gyroX, uint16_t *gyroY, uint16_t *gyroZ){
//	uint8_t gyroX_LSB, gyroX_MSB, gyroY_LSB, gyroY_MSB, gyroZ_LSB, gyroZ_MSB;
//	HAL_I2C_Mem_Read(&hi2c1, BNO055_ADDR, BNO_GYR_DATA_X_LSB, I2C_MEMADD_SIZE_8BIT, &gyroX_LSB, 1, 100);
//	HAL_I2C_Mem_Read(&hi2c1, BNO055_ADDR, BNO_GYR_DATA_X_MSB, I2C_MEMADD_SIZE_8BIT, &gyroX_MSB, 1, 100);
//	HAL_I2C_Mem_Read(&hi2c1, BNO055_ADDR, BNO_GYR_DATA_Y_LSB, I2C_MEMADD_SIZE_8BIT, &gyroY_LSB, 1, 100);
//	HAL_I2C_Mem_Read(&hi2c1, BNO055_ADDR, BNO_GYR_DATA_Y_MSB, I2C_MEMADD_SIZE_8BIT, &gyroY_MSB, 1, 100);
//	HAL_I2C_Mem_Read(&hi2c1, BNO055_ADDR, BNO_GYR_DATA_Z_LSB, I2C_MEMADD_SIZE_8BIT, &gyroZ_LSB, 1, 100);
//	HAL_I2C_Mem_Read(&hi2c1, BNO055_ADDR, BNO_GYR_DATA_Z_MSB, I2C_MEMADD_SIZE_8BIT, &gyroZ_MSB, 1, 100);
//	*gyroX = (gyroX_MSB << 8) | gyroX_LSB;
//	*gyroY = (gyroY_MSB << 8) | gyroY_LSB;
//	*gyroZ = (gyroZ_MSB << 8) | gyroZ_LSB;
//}

//uint8_t BNO_GetEulerData(void){
//	BNO_GetEulerHeading();
//	BNO_GetEulerRoll();
//	BNO_GetEulerPitch();
//}
//
//uint8_t BNO_GetEulerHeading(void){
//
//}
//
//uint8_t BNO_GetEulerRoll(void){
//
//}
//
//uint8_t BNO_GetEulerPitch(void){
//
//}

//uint8_t BNO_GetQuat(void){
//	BNO_GetQuatW();
//	BNO_GetQuatX();
//	BNO_GetQuatY();
//	BNO_GetQuatZ();
//}
//
//uint8_t BNO_GetQuatW(void){
//
//}
//
//uint8_t BNO_GetQuatX(void){
//
//}
//
//uint8_t BNO_GetQuatY(void){
//
//}
//
//uint8_t BNO_GetQuatZ(void){
//
//}

//uint8_t BNO_GetLinData(void){
//	BNO_GetLinearX();
//	BNO_GetLinearY();
//	BNO_GetLinearZ();
//}
//
//uint8_t BNO_GetLinearX(void){
//
//}
//
//uint8_t BNO_GetLinearY(void){
//
//}
//
//uint8_t BNO_GetLinearZ(void){
//
//}
//
//uint8_t BNO_GetGravData(void){
//	BNO_GetGravX();
//	BNO_GetGravY();
//	BNO_GetGravZ();
//}
//
//uint8_t BNO_GetGravX(void){
//
//}
//
//uint8_t BNO_GetGravY(void){
//
//}
//
//uint8_t BNO_GetGravZ(void){
//
//}
//
//uint8_t BNO_GetTemp(void){
//
//}

/*WRITE ENABLE*/  //WORKS
void writeEnable(void){
	HAL_GPIO_WritePin(GPIOB, GPIO_PIN_0, GPIO_PIN_RESET);
	HAL_SPI_Transmit(&hspi1, (uint8_t *)&WR_EN, 1, 100);
	HAL_GPIO_WritePin(GPIOB, GPIO_PIN_0, GPIO_PIN_SET);
}

/*WRITE DISABLE*/  //WORKS
void writeDisable(void){
	HAL_GPIO_WritePin(GPIOB, GPIO_PIN_0, GPIO_PIN_RESET);
	HAL_SPI_Transmit(&hspi1, (uint8_t *)&WR_DIS, 1, 100);
	HAL_GPIO_WritePin(GPIOB, GPIO_PIN_0, GPIO_PIN_SET);
}

/*READ STATUS REGISTER*/  //WORKS
void readStatusRegister(void){
	//Read Status Register
	HAL_GPIO_WritePin(GPIOB, GPIO_PIN_0, GPIO_PIN_RESET);
	HAL_SPI_Transmit(&hspi1, (uint8_t *)&RD_SR, 1, 100);
	HAL_SPI_Receive(&hspi1, statReg, 1, 100);
	HAL_GPIO_WritePin(GPIOB, GPIO_PIN_0, GPIO_PIN_SET);

	SRP = (*statReg 	& 0b10000000) >> 7;	//Status Register Protect
	TB  = (*statReg 	& 0b00100000) >> 5;	//Top/Bottom Protect
	BP2 = (*statReg 	& 0b00010000) >> 4;	//Block Protect 2
	BP1 = (*statReg 	& 0b00001000) >> 3;	//Block Protect 1
	BP0 = (*statReg 	& 0b00000100) >> 2;	//Block Protect 0
	WEL = (*statReg 	& 0b00000010) >> 1;	//Write Enable Latch
	BUSY = (*statReg & 0b00000001) >> 0;	//Erase/Write In Progress

	//	Print out status register
//	uart_buf_len = sprintf(uart_buf, "SRP: 0x%02x\r\n", SRP);
//	HAL_UART_Transmit(&huart2, (uint8_t *)uart_buf, uart_buf_len, 100);
//	uart_buf_len = sprintf(uart_buf, "TB: 0x%02x\r\n", SRP);
//	HAL_UART_Transmit(&huart2, (uint8_t *)uart_buf, uart_buf_len, 100);
//	uart_buf_len = sprintf(uart_buf, "BP2: 0x%02x\r\n", SRP);
//	HAL_UART_Transmit(&huart2, (uint8_t *)uart_buf, uart_buf_len, 100);
//	uart_buf_len = sprintf(uart_buf, "BP1: 0x%02x\r\n", SRP);
//	HAL_UART_Transmit(&huart2, (uint8_t *)uart_buf, uart_buf_len, 100);
//	uart_buf_len = sprintf(uart_buf, "BP0: 0x%02x\r\n", SRP);
//	HAL_UART_Transmit(&huart2, (uint8_t *)uart_buf, uart_buf_len, 100);
//	uart_buf_len = sprintf(uart_buf, "WEL: 0x%02x\r\n", SRP);
//	HAL_UART_Transmit(&huart2, (uint8_t *)uart_buf, uart_buf_len, 100);
//	uart_buf_len = sprintf(uart_buf, "BSY: 0x%02x\r\n", SRP);
//	HAL_UART_Transmit(&huart2, (uint8_t *)uart_buf, uart_buf_len, 100);
}

/*PAGE PROGRAM*/  //WORKS
void pageProgram(uint32_t address, uint8_t *data, uint32_t size){
	uint8_t command[4] = {PG_PROG, (address >> 16) & 0xFF, (address >> 8) & 0xFF, address & 0xFF};
	writeEnable();
	HAL_GPIO_WritePin(GPIOB, GPIO_PIN_0, GPIO_PIN_RESET);
	HAL_SPI_Transmit(&hspi1, command, 4, 100);
	HAL_SPI_Transmit(&hspi1, data, size, 100);
	HAL_GPIO_WritePin(GPIOB, GPIO_PIN_0, GPIO_PIN_SET);
	do{
		readStatusRegister();
	}while(BUSY && WEL);
}

/*READ DATA*/  //WORKS
void readData(uint32_t address, uint8_t *data, uint32_t size){
	uint8_t command[4] = {RD_DATA, (address >> 16) & 0xFF, (address >> 8) & 0xFF, address & 0xFF};
	HAL_GPIO_WritePin(GPIOB, GPIO_PIN_0, GPIO_PIN_RESET);
	HAL_SPI_Transmit(&hspi1, command, 4, 100);
	HAL_SPI_Receive(&hspi1, data, size, 100);
	HAL_GPIO_WritePin(GPIOB, GPIO_PIN_0, GPIO_PIN_SET);
}

/*ERASE 4K*/  //WORKS
void erase4KB(uint32_t address){
	uint8_t command[4] = {ERASE_4KB, (address >> 16) & 0xFF, (address >> 8) & 0xFF, address & 0xFF};
	writeEnable();
	HAL_GPIO_WritePin(GPIOB, GPIO_PIN_0, GPIO_PIN_RESET);
	HAL_SPI_Transmit(&hspi1, command, 4, 100);
	HAL_GPIO_WritePin(GPIOB, GPIO_PIN_0, GPIO_PIN_SET);
	do{
		readStatusRegister();
	}while(BUSY && WEL);
}

/*ERASE 32K*/  //WORKS
void erase32KB(uint32_t address){
	uint8_t command[4] = {ERASE_32KB, (address >> 16) & 0xFF, (address >> 8) & 0xFF, address & 0xFF};
	writeEnable();
	HAL_GPIO_WritePin(GPIOB, GPIO_PIN_0, GPIO_PIN_RESET);
	HAL_SPI_Transmit(&hspi1, command, 4, 100);
	HAL_GPIO_WritePin(GPIOB, GPIO_PIN_0, GPIO_PIN_SET);
	do{
		readStatusRegister();
	}while(BUSY && WEL);
}

/*ERASE 64K*/  //WORKS
void erase64KB(uint32_t address){
	uint8_t command[4] = {ERASE_64KB, (address >> 16) & 0xFF, (address >> 8) & 0xFF, address & 0xFF};
	writeEnable();
	HAL_GPIO_WritePin(GPIOB, GPIO_PIN_0, GPIO_PIN_RESET);
	HAL_SPI_Transmit(&hspi1, command, 4, 100);
	HAL_GPIO_WritePin(GPIOB, GPIO_PIN_0, GPIO_PIN_SET);
	do{
		readStatusRegister();
	}while(BUSY && WEL);
}

/*ERASE CHIPK*/  //WORKS
void eraseChip(void){
	writeEnable();
	HAL_GPIO_WritePin(GPIOB, GPIO_PIN_0, GPIO_PIN_RESET);
	HAL_SPI_Transmit(&hspi1, (uint8_t *)&ERASE_CHIP, 1, 100);
	HAL_GPIO_WritePin(GPIOB, GPIO_PIN_0, GPIO_PIN_SET);
	do{
		readStatusRegister();
	}while(BUSY && WEL);
}

//void storeFile(void){
//	uint8_t fileCount, pageCount = 0;
//	fileCount = fileCensus();
//	char filePacket[255];
//	int address = fileCount * BLOCK_OFFSET;	//Get the address of the last file in memory
//	int fileSize = strlen((char *)file);
//	if(fileSize > 255){
//		for(int startLocation = 0; startLocation < fileSize; startLocation += PAGE_OFFSET){
//			int tempAddr = address + BLOCK_OFFSET + (PAGE_OFFSET * pageCount);
//			memset((char *)filePacket, '\0', strlen((char *)filePacket));
//			memcpy(filePacket, file + startLocation, PAGE_OFFSET);
//			pageProgram(tempAddr, (uint8_t*)filePacket, PAGE_OFFSET);	//Store the incoming file at the next available location.
//			HAL_Delay(500);
//			pageCount++;
//		}
//	}else{
//		pageProgram(address + BLOCK_OFFSET, (uint8_t*)file, 255);	//Store the incoming file at the next available location.
//	}
//	//Format the TOC after storing the data.
//	formatTOC();
//	memset((char *)file, '\0', strlen((char *)file));/*<--------------------------------------------------------------------------------------------------------------------*/
//	strcpy((char*)cmdResponse,"\r\n-->");
//	HAL_UART_Transmit_IT(&huart1, cmdResponse, strlen((char *)cmdResponse));
//
//	memset((char *)cmd, '\0', strlen((char *)cmd));
//	memset((char *)cmdArg, '\0', strlen((char *)cmdArg));
//	fileReceived = 0;
//}
//
//void readFile(uint8_t fileNum){
//	//Find the file to delete
//	//Delete File
//	//Move last file in memory up to recently-deleted file.
//	//Choose whether to move the entire file at once of breakdown file into data packets.
////	uint8_t pageCount = 0;
//	int address;
//	for(address = BLOCK_1_ADDR; address < (BLOCK_1_ADDR * BLOCKS_4KB); address += BLOCK_OFFSET){
//		if((address >> 12) == fileNum){
//			pageCount = pageCensus(address);
//			if(pageCount > 1){
//				for(int startLocation = 0; startLocation < (PAGE_OFFSET * pageCount); startLocation += PAGE_OFFSET){
//					int tempAddr = address + startLocation;
//					readData(tempAddr, spi_buf, PAGE_OFFSET);	//Store the incoming file at the next available location.
//					HAL_UART_Transmit_IT(&huart1, spi_buf, PAGE_OFFSET);
//					HAL_Delay(500);
//				}
//			}else{
//				readData(address, spi_buf,PAGE_OFFSET);
//				HAL_UART_Transmit_IT(&huart1, spi_buf, PAGE_OFFSET);
//				HAL_Delay(500);
//			}
//
//			//	pageProgram(address + BLOCK_OFFSET, (uint8_t*)file, strlen(file));	//Store the incoming file at the next available location.
//			//Format the TOC after storing the data.
//			//	formatTOC();
//			memset((char *)file, '\0', strlen((char *)file));
//			strcpy((char*)cmdResponse,"\r\n-->");
//			HAL_UART_Transmit_IT(&huart1, cmdResponse, strlen((char *)cmdResponse));
//			break;
//		}
//	}
//}

/* USER CODE END 4 */

void Error_Handler(void)
{
  __disable_irq();
  while (1)
  {
  }
}
